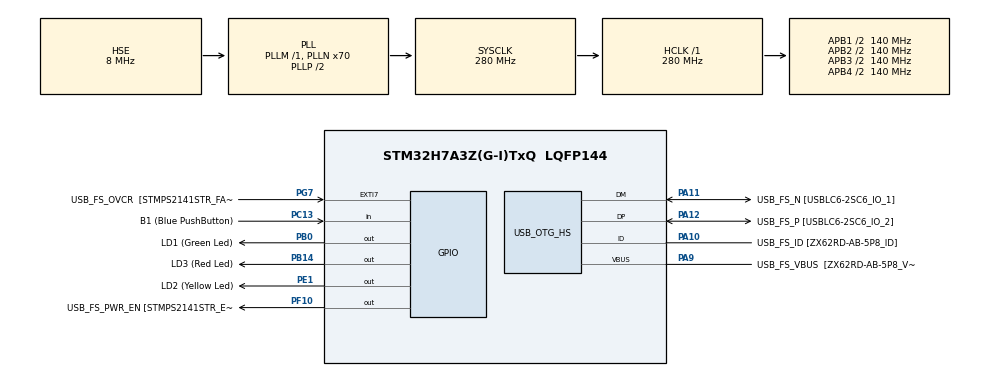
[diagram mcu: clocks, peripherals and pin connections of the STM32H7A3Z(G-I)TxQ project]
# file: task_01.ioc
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Mcu.Family=STM32H7
Mcu.Name=STM32H7A3Z(G-I)TxQ
Mcu.Package=LQFP144
NVIC.PriorityGroup=NVIC_PRIORITYGROUP_4
NVIC.TIM6_DAC_IRQn=true\:15\:0\:false\:false\:true\:false\:true\:true
NVIC.TimeBase=TIM6_DAC_IRQn
NVIC.TimeBaseIP=TIM6
PA10.GPIO_Label=USB_FS_ID [ZX62RD-AB-5P8_ID]
PA10.Mode=OTG/Dual-Role-Device-FS
PA10.Signal=USB_OTG_HS_ID
PA11.GPIO_Label=USB_FS_N [USBLC6-2SC6_IO_1]
PA11.Mode=OTG/Dual-Role-Device-FS
PA11.Signal=USB_OTG_HS_DM
PA12.GPIO_Label=USB_FS_P [USBLC6-2SC6_IO_2]
PA12.Mode=OTG/Dual-Role-Device-FS
PA12.Signal=USB_OTG_HS_DP
PA9.GPIO_Label=USB_FS_VBUS  [ZX62RD-AB-5P8_VBUS]
PA9.Mode=Activate_VBUS_FS
PA9.Signal=USB_OTG_HS_VBUS
PB0.GPIO_Label=LD1 (Green Led)
PB0.Signal=GPIO_Output
PB14.GPIO_Label=LD3 (Red Led)
PB14.Signal=GPIO_Output
PC13.GPIO_Label=B1 (Blue PushButton)
PC13.Signal=GPIO_Input
PC14-OSC32_IN.GPIO_Label=OSC32_IN
PC14-OSC32_IN.Mode=LSE-External-Oscillator
PC14-OSC32_IN.Signal=RCC_OSC32_IN
PC15-OSC32_OUT.GPIO_Label=OSC32_OUT
PC15-OSC32_OUT.Mode=LSE-External-Oscillator
PC15-OSC32_OUT.Signal=RCC_OSC32_OUT
PD8.GPIO_Label=STLINK_RX
PD8.Signal=USART3_TX
PD9.GPIO_Label=STLINK_TX
PD9.Signal=USART3_RX
PE1.GPIO_Label=LD2 (Yellow Led)
PE1.Signal=GPIO_Output
PF10.GPIO_Label=USB_FS_PWR_EN [STMPS2141STR_EN]
PF10.Signal=GPIO_Output
PG7.GPIO_Label=USB_FS_OVCR  [STMPS2141STR_FAULT]
PG7.Signal=GPXTI7
PH0-OSC_IN.GPIO_Label=PH0-MCU
PH0-OSC_IN.Mode=HSE-External-Clock-Source
PH0-OSC_IN.Signal=RCC_OSC_IN
PH1-OSC_OUT.GPIO_Label=PH1-MCU
PH1-OSC_OUT.Signal=RCC_OSC_OUT
ProjectManager.HeapSize=0x200
ProjectManager.StackSize=0x400
ProjectManager.TargetToolchain=STM32CubeIDE
RCC.ADCFreq_Value=16125000
RCC.APB1Freq_Value=140000000
RCC.APB2Freq_Value=140000000
RCC.APB3Freq_Value=140000000
RCC.APB4Freq_Value=140000000
RCC.CDPPRE=RCC_APB3_DIV2
RCC.CDPPRE1=RCC_APB1_DIV2
RCC.CDPPRE2=RCC_APB2_DIV2
RCC.CortexFreq_Value=280000000
RCC.DIVM1=1
RCC.DIVM3=1
RCC.DIVN1=70
RCC.DIVN3=24
RCC.DIVQ1=4
RCC.HCLKFreq_Value=280000000
RCC.HSE_VALUE=8000000
RCC.PLLFRACN=0
RCC.PLLSourceVirtual=RCC_PLLSOURCE_HSE
RCC.PWR_Regulator_Voltage_Scale=PWR_REGULATOR_VOLTAGE_SCALE0
RCC.SRDPPRE=RCC_APB4_DIV2
RCC.SYSCLKFreq_VALUE=280000000
RCC.SYSCLKSource=RCC_SYSCLKSOURCE_PLLCLK
RCC.SupplySource=PWR_DIRECT_SMPS_SUPPLY
RCC.USBCLockSelection=RCC_USBCLKSOURCE_HSI48
RCC.USBFreq_Value=48000000
VP_SYS_VS_tim6.Mode=TIM6
board=NUCLEO-H7A3ZI-Q

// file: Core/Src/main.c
/* USER CODE BEGIN Header */
/**
  ******************************************************************************
  * @file           : main.c
  * @brief          : Main program body
  ******************************************************************************
  * @attention
  *
  * Copyright (c) 2023 STMicroelectronics.
  * All rights reserved.
  *
  * This software is licensed under terms that can be found in the LICENSE file
  * in the root directory of this software component.
  * If no LICENSE file comes with this software, it is provided AS-IS.
  *
  ******************************************************************************
  */
/* USER CODE END Header */
#include "main.h"

/* USER CODE BEGIN Includes */
#include <stdint.h>
#include <FreeRTOS.h>
#include <task.h>
#include <stdio.h>
/* USER CODE END Includes */

/* USER CODE BEGIN PV */

#define DWT_CTRL (*(volatile uint32_t*)0xE0001000)

/* USER CODE END PV */

void SystemClock_Config(void);
static void MX_GPIO_Init(void);
static void MX_USB_OTG_HS_USB_Init(void);
/* USER CODE BEGIN PFP */
static void task2_handler(void* parameters);
static void task1_handler(void* parameters);
extern void SEGGER_UART_init(U32 baud);
/* USER CODE END PFP */

int main(void)
{
  /* USER CODE BEGIN 1 */
	TaskHandle_t task1_handle;
	TaskHandle_t task2_handle;

	BaseType_t status;
  /* USER CODE END 1 */

  /* MCU Configuration--------------------------------------------------------*/

  /* Reset of all peripherals, Initializes the Flash interface and the Systick. */
  HAL_Init();

  /* Configure the system clock */
  SystemClock_Config();

  /* Initialize all configured peripherals */
  MX_GPIO_Init();
  MX_USB_OTG_HS_USB_Init();
  /* USER CODE BEGIN 2 */

  //Enable CYCCNT counter to create timestamp of the Segger
  DWT_CTRL |= ( 1 << 0);

  //SEGGER_SYSVIEW_Start();
  //SEGGER_UART_init(	250000);

  SEGGER_SYSVIEW_Conf();

  SEGGER_SYSVIEW_Start();
 // Segger intialization is completed

  status = xTaskCreate(task1_handler, "Task-1", 200, "Hello world from Task-1", 2, &task1_handle);

  configASSERT(status == pdPASS);

  status = xTaskCreate(task2_handler, "Task-2", 200, "Hello world from Task-2", 2, &task2_handle);

  configASSERT(status == pdPASS);

  //start the freertos scheduler
  vTaskStartScheduler();
  //if the control comes here then the launc of the sheduler has fialed eue to
  // insufficient memory in the heap

  /* USER CODE END 2 */

  /* Infinite loop */
  while (1)
  {

  }
}

void SystemClock_Config(void)
{
  RCC_OscInitTypeDef RCC_OscInitStruct = {0};
  RCC_ClkInitTypeDef RCC_ClkInitStruct = {0};

  /*AXI clock gating */
  RCC->CKGAENR = 0xFFFFFFFF;

  /** Supply configuration update enable
  */
  HAL_PWREx_ConfigSupply(PWR_DIRECT_SMPS_SUPPLY);

  /** Configure the main internal regulator output voltage
  */
  __HAL_PWR_VOLTAGESCALING_CONFIG(PWR_REGULATOR_VOLTAGE_SCALE0);

  while(!__HAL_PWR_GET_FLAG(PWR_FLAG_VOSRDY)) {}

  /** Initializes the RCC Oscillators according to the specified parameters
  * in the RCC_OscInitTypeDef structure.
  */
  RCC_OscInitStruct.OscillatorType = RCC_OSCILLATORTYPE_HSI48|RCC_OSCILLATORTYPE_HSE;
  RCC_OscInitStruct.HSEState = RCC_HSE_BYPASS;
  RCC_OscInitStruct.HSI48State = RCC_HSI48_ON;
  RCC_OscInitStruct.PLL.PLLState = RCC_PLL_ON;
  RCC_OscInitStruct.PLL.PLLSource = RCC_PLLSOURCE_HSE;
  RCC_OscInitStruct.PLL.PLLM = 1;
  RCC_OscInitStruct.PLL.PLLN = 70;
  RCC_OscInitStruct.PLL.PLLP = 2;
  RCC_OscInitStruct.PLL.PLLQ = 4;
  RCC_OscInitStruct.PLL.PLLR = 2;
  RCC_OscInitStruct.PLL.PLLRGE = RCC_PLL1VCIRANGE_3;
  RCC_OscInitStruct.PLL.PLLVCOSEL = RCC_PLL1VCOWIDE;
  RCC_OscInitStruct.PLL.PLLFRACN = 0;
  if (HAL_RCC_OscConfig(&RCC_OscInitStruct) != HAL_OK)
  {
    Error_Handler();
  }

  /** Initializes the CPU, AHB and APB buses clocks
  */
  RCC_ClkInitStruct.ClockType = RCC_CLOCKTYPE_HCLK|RCC_CLOCKTYPE_SYSCLK
                              |RCC_CLOCKTYPE_PCLK1|RCC_CLOCKTYPE_PCLK2
                              |RCC_CLOCKTYPE_D3PCLK1|RCC_CLOCKTYPE_D1PCLK1;
  RCC_ClkInitStruct.SYSCLKSource = RCC_SYSCLKSOURCE_PLLCLK;
  RCC_ClkInitStruct.SYSCLKDivider = RCC_SYSCLK_DIV1;
  RCC_ClkInitStruct.AHBCLKDivider = RCC_HCLK_DIV1;
  RCC_ClkInitStruct.APB3CLKDivider = RCC_APB3_DIV2;
  RCC_ClkInitStruct.APB1CLKDivider = RCC_APB1_DIV2;
  RCC_ClkInitStruct.APB2CLKDivider = RCC_APB2_DIV2;
  RCC_ClkInitStruct.APB4CLKDivider = RCC_APB4_DIV2;

  if (HAL_RCC_ClockConfig(&RCC_ClkInitStruct, FLASH_LATENCY_7) != HAL_OK)
  {
    Error_Handler();
  }
}

static void MX_USB_OTG_HS_USB_Init(void)
{

}

static void MX_GPIO_Init(void)
{
  GPIO_InitTypeDef GPIO_InitStruct = {0};

  /* GPIO Ports Clock Enable */
  __HAL_RCC_GPIOC_CLK_ENABLE();
  __HAL_RCC_GPIOF_CLK_ENABLE();
  __HAL_RCC_GPIOH_CLK_ENABLE();
  __HAL_RCC_GPIOB_CLK_ENABLE();
  __HAL_RCC_GPIOD_CLK_ENABLE();
  __HAL_RCC_GPIOG_CLK_ENABLE();
  __HAL_RCC_GPIOA_CLK_ENABLE();
  __HAL_RCC_GPIOE_CLK_ENABLE();

  /*Configure GPIO pin Output Level */
  HAL_GPIO_WritePin(USB_FS_PWR_EN_GPIO_Port, USB_FS_PWR_EN_Pin, GPIO_PIN_RESET);

  /*Configure GPIO pin Output Level */
  HAL_GPIO_WritePin(GPIOB, LD1_Pin|LD3_Pin, GPIO_PIN_RESET);

  /*Configure GPIO pin Output Level */
  HAL_GPIO_WritePin(LD2_GPIO_Port, LD2_Pin, GPIO_PIN_RESET);

  /*Configure GPIO pin : B1_Pin */
  GPIO_InitStruct.Pin = B1_Pin;
  GPIO_InitStruct.Mode = GPIO_MODE_INPUT;
  GPIO_InitStruct.Pull = GPIO_NOPULL;
  HAL_GPIO_Init(B1_GPIO_Port, &GPIO_InitStruct);

  /*Configure GPIO pin : USB_FS_PWR_EN_Pin */
  GPIO_InitStruct.Pin = USB_FS_PWR_EN_Pin;
  GPIO_InitStruct.Mode = GPIO_MODE_OUTPUT_PP;
  GPIO_InitStruct.Pull = GPIO_NOPULL;
  GPIO_InitStruct.Speed = GPIO_SPEED_FREQ_LOW;
  HAL_GPIO_Init(USB_FS_PWR_EN_GPIO_Port, &GPIO_InitStruct);

  /*Configure GPIO pins : LD1_Pin LD3_Pin */
  GPIO_InitStruct.Pin = LD1_Pin|LD3_Pin;
  GPIO_InitStruct.Mode = GPIO_MODE_OUTPUT_PP;
  GPIO_InitStruct.Pull = GPIO_NOPULL;
  GPIO_InitStruct.Speed = GPIO_SPEED_FREQ_LOW;
  HAL_GPIO_Init(GPIOB, &GPIO_InitStruct);

  /*Configure GPIO pins : STLINK_RX_Pin STLINK_TX_Pin */
  GPIO_InitStruct.Pin = STLINK_RX_Pin|STLINK_TX_Pin;
  GPIO_InitStruct.Mode = GPIO_MODE_AF_PP;
  GPIO_InitStruct.Pull = GPIO_NOPULL;
  GPIO_InitStruct.Speed = GPIO_SPEED_FREQ_LOW;
  GPIO_InitStruct.Alternate = GPIO_AF7_USART3;
  HAL_GPIO_Init(GPIOD, &GPIO_InitStruct);

  /*Configure GPIO pin : USB_FS_OVCR_Pin */
  GPIO_InitStruct.Pin = USB_FS_OVCR_Pin;
  GPIO_InitStruct.Mode = GPIO_MODE_IT_RISING;
  GPIO_InitStruct.Pull = GPIO_NOPULL;
  HAL_GPIO_Init(USB_FS_OVCR_GPIO_Port, &GPIO_InitStruct);

  /*Configure GPIO pin : USB_FS_VBUS_Pin */
  GPIO_InitStruct.Pin = USB_FS_VBUS_Pin;
  GPIO_InitStruct.Mode = GPIO_MODE_INPUT;
  GPIO_InitStruct.Pull = GPIO_NOPULL;
  HAL_GPIO_Init(USB_FS_VBUS_GPIO_Port, &GPIO_InitStruct);

  /*Configure GPIO pin : USB_FS_ID_Pin */
  GPIO_InitStruct.Pin = USB_FS_ID_Pin;
  GPIO_InitStruct.Mode = GPIO_MODE_AF_PP;
  GPIO_InitStruct.Pull = GPIO_NOPULL;
  GPIO_InitStruct.Speed = GPIO_SPEED_FREQ_LOW;
  GPIO_InitStruct.Alternate = GPIO_AF10_OTG1_HS;
  HAL_GPIO_Init(USB_FS_ID_GPIO_Port, &GPIO_InitStruct);

  /*Configure GPIO pins : USB_FS_N_Pin USB_FS_P_Pin */
  GPIO_InitStruct.Pin = USB_FS_N_Pin|USB_FS_P_Pin;
  GPIO_InitStruct.Mode = GPIO_MODE_AF_PP;
  GPIO_InitStruct.Pull = GPIO_NOPULL;
  GPIO_InitStruct.Speed = GPIO_SPEED_FREQ_LOW;
  HAL_GPIO_Init(GPIOA, &GPIO_InitStruct);

  /*Configure GPIO pin : LD2_Pin */
  GPIO_InitStruct.Pin = LD2_Pin;
  GPIO_InitStruct.Mode = GPIO_MODE_OUTPUT_PP;
  GPIO_InitStruct.Pull = GPIO_NOPULL;
  GPIO_InitStruct.Speed = GPIO_SPEED_FREQ_LOW;
  HAL_GPIO_Init(LD2_GPIO_Port, &GPIO_InitStruct);

}

/* USER CODE BEGIN 4 */
static void task1_handler(void * parameters){

	char msg[100];
	while(1){
//		printf("%s\n",(char*)parameters);
		snprintf(msg,100,"%s\n",(char*)parameters);
		SEGGER_SYSVIEW_PrintfTarget(msg);
		taskYIELD();
	}
}
static void task2_handler(void* parameters){
	char msg[100];
	while(1){
		snprintf(msg,100,"%s\n",(char*)parameters);
		SEGGER_SYSVIEW_PrintfTarget(msg);
		taskYIELD();
	}
}
/* USER CODE END 4 */

void HAL_TIM_PeriodElapsedCallback(TIM_HandleTypeDef *htim)
{
  if (htim->Instance == TIM6) {
    HAL_IncTick();
  }
}

void Error_Handler(void)
{
  __disable_irq();
  while (1)
  {
  }
}
